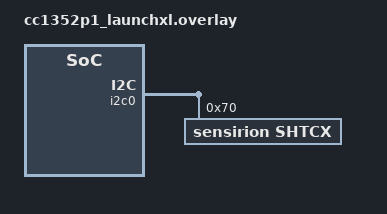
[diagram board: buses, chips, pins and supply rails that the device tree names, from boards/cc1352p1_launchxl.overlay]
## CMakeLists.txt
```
# SPDX-License-Identifier: Apache-2.0

cmake_minimum_required(VERSION 3.20.0)
find_package(Zephyr REQUIRED HINTS $ENV{ZEPHYR_BASE})

set(BOARD cc26x2r1_launchxl) 
project(ieee802154_radioapi_tx)

# Link OpenThread libraries
# target_link_libraries(app PUBLIC openthread)


target_include_directories(
  app
  PRIVATE
  ${ZEPHYR_BASE}/subsys/net/ip
  ${ZEPHYR_BASE}/subsys/net/l2/ieee802154
  )

target_sources(app PRIVATE src/main.c)
```

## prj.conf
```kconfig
CONFIG_NETWORKING=y

CONFIG_NET_L2_IEEE802154=y # It is enable to use net_if_get_default()

CONFIG_IEEE802154=y
CONFIG_IEEE802154_RAW_MODE=y

CONFIG_NET_PKT_RX_COUNT=6
CONFIG_NET_PKT_TX_COUNT=6
CONFIG_NET_BUF_DATA_SIZE=128

CONFIG_NET_CONFIG_SETTINGS=y
CONFIG_NET_CONFIG_AUTO_INIT=n


CONFIG_TEST_RANDOM_GENERATOR=y
```

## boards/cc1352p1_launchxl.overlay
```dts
&i2c0 { 
	shtcx@70 {
		compatible = "sensirion,shtcx";
		reg = <0x70>;
        label = "SHTCX";
        chip = "shtc3";
        measure-mode = "normal";
	};
};
```

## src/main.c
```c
#include <zephyr/kernel.h>
#include <zephyr/device.h>
#include <zephyr/net/ieee802154_radio.h>
#include <zephyr/net/net_pkt.h>
#include <zephyr/sys/printk.h>
// #include <zephyr/random/random.h>

LOG_MODULE_REGISTER(radioapi_tx, LOG_LEVEL_DBG);

#define IEEE802154_CHANNEL 11  // Set the channel to your network's channel
#define IEEE802154_PAN_ID 0xABCD // Example PAN ID
#define IEEE802154_SHORT_ADDR 0x1234 // Example short address
#define TX_PACKET_SIZE 31

// Define macros without endianness
#define FRAME_CONTROL  0xD841  // Frame control (MSB first)
#define SEQUENCE_NUMBER 0x2B   // Sequence number
#define PAN_ID        0xABCD   // PAN ID (MSB first)
#define BROADCAST     0xFFFF   // Broadcast address (MSB first)
#define MAC_ADDR      0x00124B00219FB2EB // MAC address (MSB first)
#define PAYLOAD       { 0x00, 0x01, 0x02, 0x03, 0x04, 0x05, 0x06, 0x07, \
                        0x08, 0x09, 0x0A, 0x0B, 0x0C, 0x0D, 0x0E, 0x0F }
#define FCS           0x56   // Frame Check Sequence (MSB first)

#define TX_PACKET_SIZE 31  // Total packet size

/* ieee802.15.4 device */
static struct ieee802154_radio_api *radio_api;
static const struct device *const ieee802154_dev = DEVICE_DT_GET(DT_CHOSEN(zephyr_ieee802154));
uint8_t mac_addr[8]; /* in little endian */

// Frame construction
uint8_t frame[TX_PACKET_SIZE];

void construct_frame(uint8_t sequence_num) {
    uint8_t payload[] = PAYLOAD;

    // Pointer to the frame buffer
    uint8_t *ptr = frame;

    // Frame Control
    sys_put_le16(FRAME_CONTROL, ptr);
    ptr += 2;

    // Sequence Number
    *ptr++ = sequence_num;

    // PAN ID
    sys_put_le16(PAN_ID, ptr);
    ptr += 2;

    // Broadcast Address
    sys_put_le16(BROADCAST, ptr);
    ptr += 2;

    // MAC Address
    sys_put_le64(MAC_ADDR, ptr);
    ptr += 8;

    // Payload
    for (int i = 0; i < sizeof(payload); i++) {
        *ptr++ = payload[i];
    }

    // Frame Check Sequence
    sys_put_le16(FCS, ptr);
}


/* Initialize the IEEE 802.15.4 interface */
static bool init_ieee802154(void) {
    LOG_INF("Initializing IEEE 802.15.4");

    if (!device_is_ready(ieee802154_dev)) {
        LOG_ERR("IEEE 802.15.4 device not ready");
        return false;
    }

    radio_api = (struct ieee802154_radio_api *)ieee802154_dev->api;

    /* Set the channel */
    radio_api->set_channel(ieee802154_dev, IEEE802154_CHANNEL);

    /* Start the radio */
    radio_api->start(ieee802154_dev);

    return true;
}

/* Transmit a packet over the IEEE 802.15.4 interface */
// void transmit_packet(struct net_if *iface)
void transmit_packet(struct net_if *iface)
{
    struct net_pkt *pkt;
       
    LOG_INF("Transmitting packet");

    /* Allocate a packet buffer with the specified size */
    pkt = net_pkt_alloc_with_buffer(iface, TX_PACKET_SIZE, AF_UNSPEC, 0, K_NO_WAIT);
    // net_pkt_alloc_buffer_raw(pkt, TX_PACKET_SIZE, K_NO_WAIT);
    	
    if (!pkt) {
        LOG_ERR("Failed to allocate packet buffer");
        return;
    }

    /* Write data to the packet */
    if (net_pkt_write(pkt, frame, sizeof(frame))) {
        LOG_ERR("Failed to write data to packet");
        net_pkt_unref(pkt);
        return;
    }

    /* Transmit the packet using the radio API with CSMA-CA mode */
    if (radio_api->tx(ieee802154_dev, IEEE802154_TX_MODE_CSMA_CA, pkt, pkt->buffer) < 0) {
        LOG_ERR("Failed to transmit packet");
    } else {
        LOG_INF("Packet transmitted successfully");
    }

    /* Free the packet */
    net_pkt_unref(pkt);
}

void main(void)
{
    uint8_t seq_num;
    /* Initialize the IEEE 802.15.4 device */
    if (!init_ieee802154()) {
        LOG_ERR("Unable to initialize ieee802154");
        return;
    }
    
    struct net_if *iface = net_if_get_default();
    
    while (1) {
        /* Transmit packets every 1 second */
        construct_frame(++seq_num);
        transmit_packet(iface);
        k_sleep(K_MSEC(1000));
    }

    return 0;
}
```
